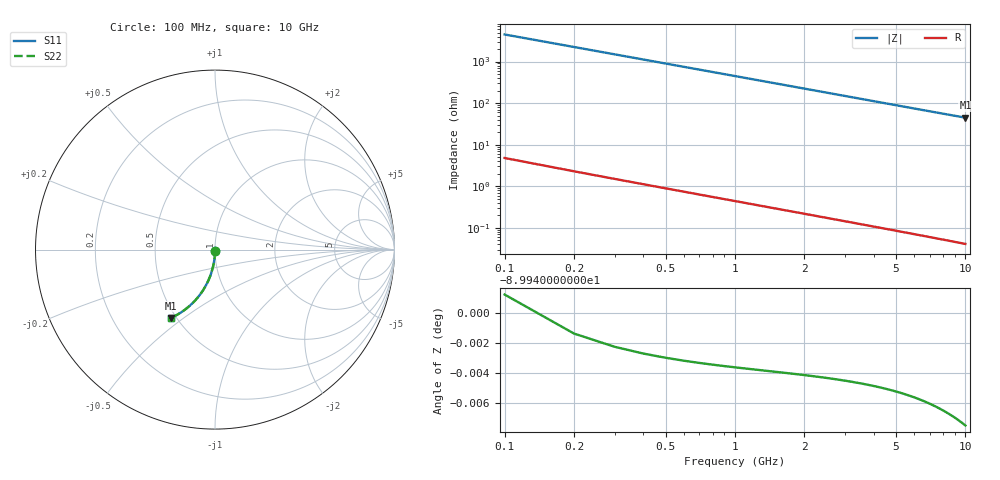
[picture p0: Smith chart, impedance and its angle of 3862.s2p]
# Hz S RI R 50.00
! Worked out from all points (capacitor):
!   100 points, 100 MHz to 10 GHz, reference 50 ohm
!   read as one part in shunt: C = 355 fF near 100 MHz
!   lowest |Z| = 44.8 ohm at 10 GHz (marker M1)
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1e8  7.17e-05 -0.00508  0.9999 -0.00606  0.9999 -0.00606  7.17e-05 -0.00508
2e8  -2.54e-05 -0.0102  0.9998 -0.0121  0.9998 -0.0121  -2.54e-05 -0.0102
3e8  -0.000184 -0.0152  0.9996 -0.0182  0.9996 -0.0182  -0.000184 -0.0152
4e8  -0.000405 -0.0203  0.9994 -0.0242  0.9994 -0.0242  -0.000405 -0.0203
5e8  -0.000687 -0.0254  0.9991 -0.0303  0.9991 -0.0303  -0.000687 -0.0254
6e8  -0.00103 -0.0304  0.9987 -0.0364  0.9987 -0.0364  -0.00103 -0.0304
7e8  -0.00144 -0.0355  0.9983 -0.0424  0.9983 -0.0424  -0.00144 -0.0355
8e8  -0.0019 -0.0406  0.9978 -0.0485  0.9978 -0.0485  -0.0019 -0.0406
9e8  -0.00243 -0.0456  0.9973 -0.0545  0.9973 -0.0545  -0.00243 -0.0456
1.1e9  -0.00367 -0.0557  0.996 -0.0665  0.996 -0.0665  -0.00367 -0.0557
1.4e9  -0.00599 -0.0708  0.9937 -0.0846  0.9937 -0.0846  -0.00599 -0.0708
1.8e9  -0.00992 -0.0907  0.9897 -0.1084  0.9897 -0.1084  -0.00992 -0.0907
2.1e9  -0.0135 -0.1054  0.9861 -0.1262  0.9861 -0.1262  -0.0135 -0.1054
2.5e9  -0.0191 -0.1249  0.9804 -0.1496  0.9804 -0.1496  -0.0191 -0.1249
2.9e9  -0.0256 -0.144  0.9738 -0.1727  0.9738 -0.1727  -0.0256 -0.144
3.4e9  -0.0349 -0.1672  0.9643 -0.2009  0.9643 -0.2009  -0.0349 -0.1672
4.2e9  -0.0526 -0.2029  0.9463 -0.2446  0.9463 -0.2446  -0.0526 -0.2029
5.1e9  -0.076 -0.2403  0.9225 -0.2911  0.9225 -0.2911  -0.076 -0.2403
5.9e9  -0.0996 -0.2708  0.8984 -0.3298  0.8984 -0.3298  -0.0996 -0.2708
6.7e9  -0.1254 -0.2985  0.8721 -0.3657  0.8721 -0.3657  -0.1254 -0.2985
8.4e9  -0.1854 -0.3472  0.8107 -0.4321  0.8107 -0.4321  -0.1854 -0.3472
1e10  -0.2455 -0.3806  0.749 -0.4824  0.749 -0.4824  -0.2455 -0.3806
